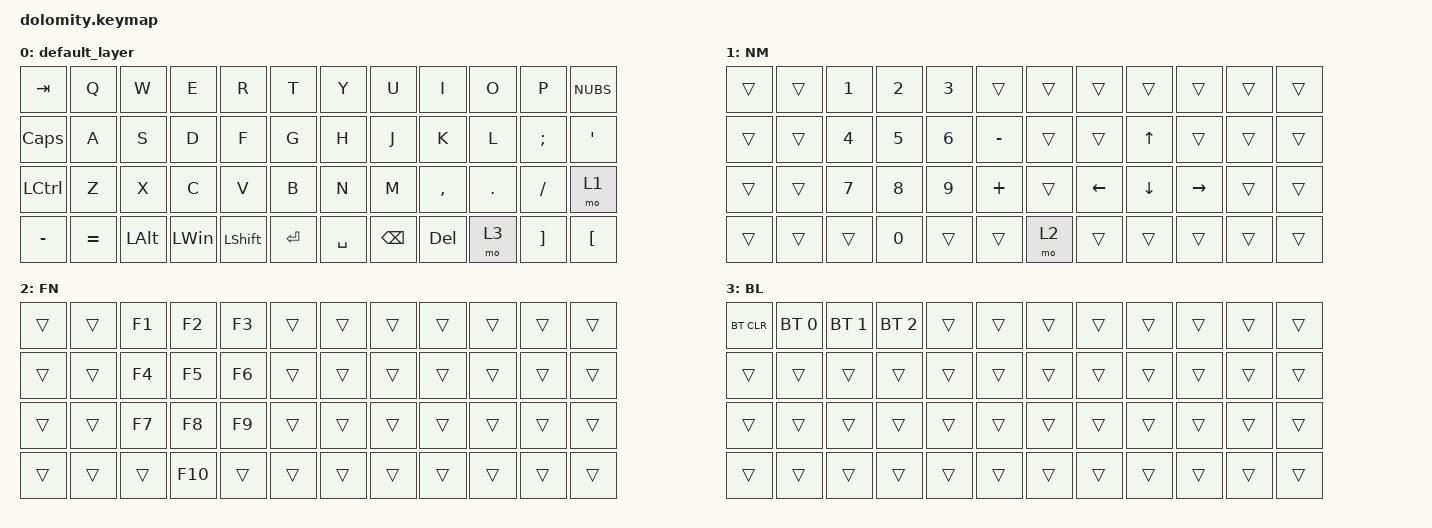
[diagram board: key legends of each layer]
#include <behaviors.dtsi>
#include <dt-bindings/zmk/keys.h>
#include <dt-bindings/zmk/bt.h>

#define DEFAULT 0

/ {
    keymap {
        
        compatible = "zmk,keymap";
        default_layer {
        bindings = < 
        &kp TAB          &kp Q     &kp W    &kp E     &kp R     &kp T     &kp Y      &kp U          &kp I       &kp O     &kp P     &kp NUBS
        &kp CAPSLOCK     &kp A     &kp S    &kp D     &kp F     &kp G     &kp H      &kp J          &kp K       &kp L     &kp SEMI  &kp SQT
        &kp LEFT_CONTROL &kp Z     &kp X    &kp C     &kp V     &kp B     &kp N      &kp M          &kp COMMA   &kp DOT   &kp FSLH  &mo 1
        &kp MINUS        &kp EQUAL &kp LALT &kp LEFT_WIN &kp LSHFT &kp ENTER &kp SPACE  &kp BACKSPACE  &kp DELETE  &mo 3    &kp RBKT  &kp LBKT
            >;
    };
        NM {
        bindings = < 
        &trans   &trans   &kp N1   &kp N2 &kp N3   &trans      &trans  &trans         &trans          &trans           &trans  &trans
        &trans   &trans   &kp N4   &kp N5 &kp N6   &kp MINUS   &trans  &trans         &kp UP_ARROW    &trans           &trans  &trans
        &trans   &trans   &kp N7   &kp N8 &kp N9   &kp PLUS    &trans  &kp LEFT_ARROW &kp DOWN_ARROW  &kp RIGHT_ARROW  &trans  &trans
        &trans   &trans   &trans   &kp N0 &trans   &trans      &mo 2  &trans         &trans          &trans           &trans  &trans
            >;
    };

        FN {
        bindings = < 
        &trans   &trans   &kp F1    &kp F2    &kp F3     &trans   &trans  &trans    &trans   &trans    &trans  &trans
        &trans   &trans   &kp F4    &kp F5    &kp F6     &trans   &trans  &trans    &trans   &trans    &trans  &trans
        &trans   &trans   &kp F7    &kp F8    &kp F9     &trans   &trans  &trans    &trans   &trans    &trans  &trans
        &trans   &trans   &trans    &kp F10   &trans     &trans   &trans &trans    &trans   &trans    &trans  &trans
            >;
    };

        BL {
        bindings = < 
        &bt BT_CLR  &bt BT_SEL 0  &bt BT_SEL 1  &bt BT_SEL 2  &trans  &trans  &trans  &trans   &trans   &trans    &trans  &trans
        &trans      &trans        &trans        &trans        &trans  &trans  &trans  &trans   &trans   &trans    &trans  &trans
        &trans      &trans        &trans        &trans        &trans  &trans  &trans  &trans   &trans   &trans    &trans  &trans
        &trans      &trans        &trans        &trans        &trans  &trans  &trans  &trans   &trans   &trans    &trans  &trans
            >;
    };

    };
};
